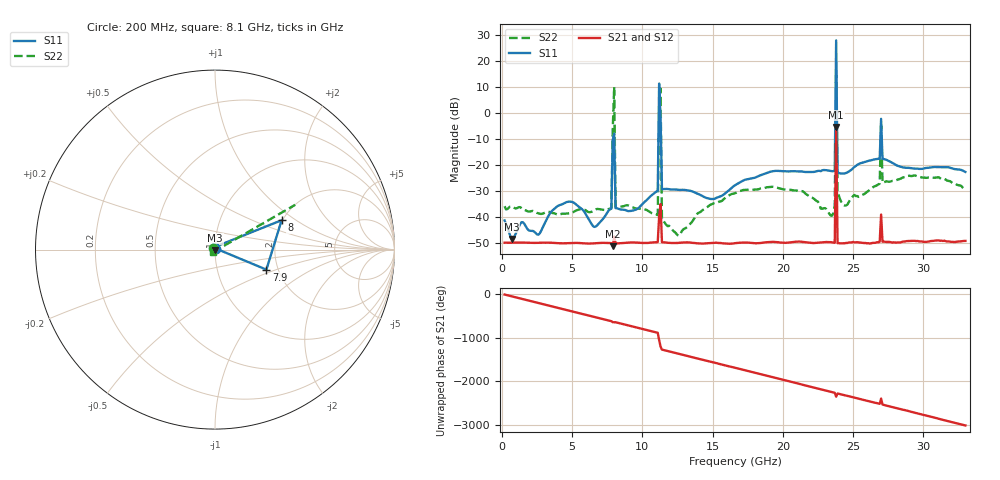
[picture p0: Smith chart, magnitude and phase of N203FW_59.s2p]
# GHZ S RI R 50
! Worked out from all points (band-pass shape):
!   329 points, 200 MHz to 33 GHz, reference 50 ohm
!   highest |S21| = -5.27 dB at 23.8 GHz (marker M1); lowest = -51.3 dB at 7.9 GHz (marker M2)
!   |S21| within 3 dB of the highest: 23.79329 GHz to 23.80669 GHz (13.4 MHz wide, 0.0563 % of centre)
!   lowest |S11| = -48.5 dB at 700 MHz (marker M3), VSWR 1.01, Z = 50.2 - j0.344 ohm
!   |S11| at or under -10 dB: start of sweep to 7.91 GHz; 11.33 GHz to 23.72 GHz (12.39 GHz wide, 70.7 % of centre); 27.05 GHz to end of sweep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
!   |S22| runs from -47.2 to 16.6 dB; largest |S21 - S12| = 0.019
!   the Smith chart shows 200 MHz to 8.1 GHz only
!   S11 on the Smith chart (normalised r, x): 200 MHz: 1.01, +0.01; 7.9 GHz: 1.74, -0.43; 8 GHz: 1.98, +0.77; 8.1 GHz: 1.00, +0.03
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0.2  0.00664 0.00537  0.00305 -0.000894  0.00306 -0.000887  -0.0133 0.00897
0.7  0.00153 -0.00343  0.00178 -0.00264  0.00178 -0.00264  -0.0129 0.00931
5.7  0.00737 0.0121  -0.00045 -0.00308  -0.000466 -0.00308  0.00754 -0.0117
7.8  -0.0089 0.0113  -0.000207 0.0031  -0.000215 0.00311  -0.00808 -0.0125
7.9  0.2863 -0.1116  0.000896 0.00257  0.000894 0.00247  0.4469 0.2497
8  0.3711 0.1636  0.00138 0.00394  0.000918 0.00605  2.779 1.629
8.1  -0.00173 0.0146  0.00104 0.0029  0.00105 0.0029  -0.0101 -0.0115
11.1  0.00505 0.0317  -0.00322 -0.00053  -0.00321 -0.000527  -0.00956 0.00501
11.2  2.607 2.674  0.00914 0.00415  0.0159 0.0215  -0.7249 -0.8901
11.3  0.752 0.3761  -0.0106 -0.0141  -0.0116 -0.0111  0.341 2.977
11.4  0.0227 0.0253  -0.00313 0.000887  -0.00312 0.000895  -0.00756 0.00452
12.6  0.0083 -0.0321  0.00114 0.00294  0.00113 0.00295  -0.00434 -0.000172
16.6  -0.0332 0.0237  -0.00105 0.00293  -0.00105 0.00292  -0.0283 0.00406
22.1  -0.0304 -0.0668  0.00285 0.00134  0.00285 0.00134  0.0216 0.00874
23.7  0.0391 0.0661  -0.000785 -0.00307  -0.000779 -0.00307  0.0124 -0.0113
23.8  23.86 8.475  -0.5324 0.1174  -0.5354 0.1175  -1.337 6.588
23.9  0.0575 0.0442  -0.00155 -0.0027  -0.00155 -0.0027  0.00885 -0.0286
26.9  0.0611 0.1171  0.0033 0.00021  0.00325 0.000178  -0.0394 0.0191
27  -0.5865 0.5123  -0.00612 0.00926  -0.00124 0.000534  0.3909 -0.417
27.1  0.098 0.0878  0.00322 -0.000758  0.00321 -0.000779  -0.0383 0.0243
27.6  0.1157 -0.0231  0.00184 -0.00272  0.00188 -0.00268  -0.034 0.0332
33  0.0206 0.0707  -0.00225 -0.0026  -0.00226 -0.00257  0.0338 0.00726
